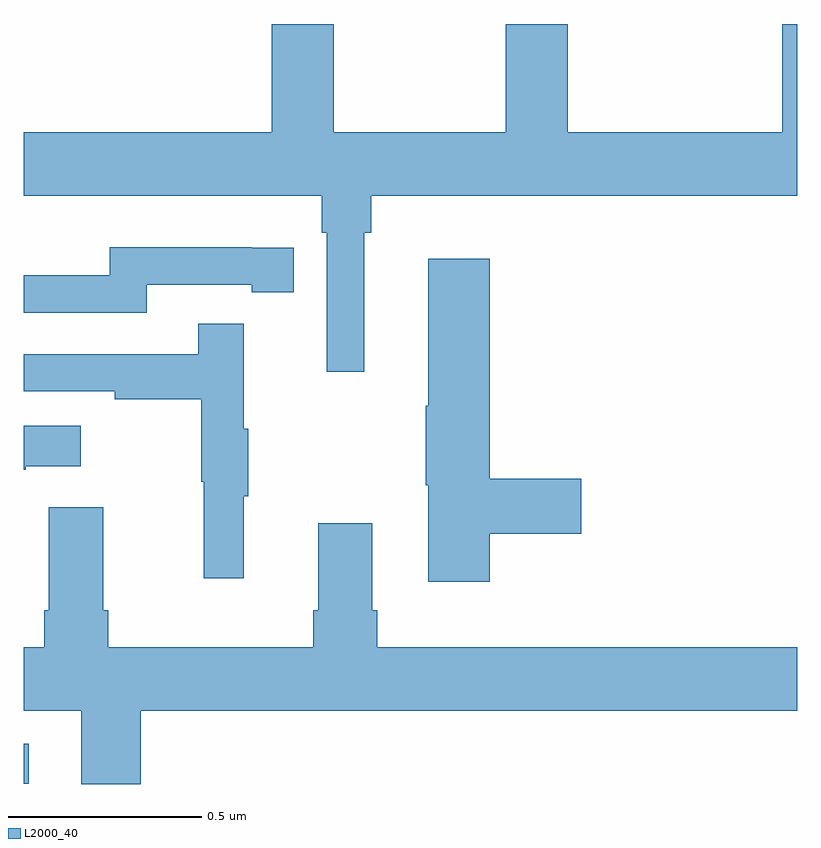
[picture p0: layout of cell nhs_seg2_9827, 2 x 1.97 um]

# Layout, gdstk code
import gdstk
lib = gdstk.Library(unit=1e-6, precision=1e-09)
def R(c, l, rs):  # rectangles x0, y0, x1, y1
    for r in rs: c.add(gdstk.rectangle(r[:2], r[2:], *l))
def P(c, l, *ps):  # polygons
    for p in ps: c.add(gdstk.Polygon(p, *l))
L2000_40 = (2000, 40)

nhs_seg2_9827 = lib.new_cell('nhs_seg2_9827')
R(nhs_seg2_9827, L2000_40, [(234,592.836,234.013,592.939)])
P(nhs_seg2_9827, L2000_40, [(234.88,594.26),(234.899,594.26),(234.899,594.356),(236,594.356),(236,594.8),(235.961,594.8),(235.961,594.52),(235.406,594.52),(235.406,594.8),(235.246,594.8),(235.246,594.52),(234.801,594.52),(234.801,594.8),(234.641,594.8),(234.641,594.52),(234,594.52),(234,594.356),(234.77,594.356),(234.77,594.26),(234.783,594.26),(234.783,593.901),(234.88,593.901)],
  [(234.318,594.126),(234.59,594.126),(234.59,594.106),(234.698,594.106),(234.698,594.222),(234.59,594.222),(234.59,594.223),(234.222,594.223),(234.222,594.15),(234,594.15),(234,594.054),(234.318,594.054)],
  [(235.205,593.482),(235.441,593.482),(235.441,593.624),(235.205,593.624),(235.205,594.193),(235.046,594.193),(235.046,593.813),(235.039,593.813),(235.039,593.607),(235.046,593.607),(235.046,593.358),(235.205,593.358)],
  [(234.569,593.579),(234.58,593.579),(234.58,593.753),(234.569,593.753),(234.569,594.025),(234.451,594.025),(234.451,593.946),(234,593.946),(234,593.85),(234.235,593.85),(234.235,593.83),(234.459,593.83),(234.459,593.616),(234.466,593.616),(234.466,593.367),(234.569,593.367)],
  [(234.005,593.657),(234.148,593.657),(234.148,593.761),(234,593.761),(234,593.647),(234.005,593.647)],
  [(234.302,593.024),(236,593.024),(236,593.188),(234.914,593.188),(234.914,593.284),(234.901,593.284),(234.901,593.509),(234.761,593.509),(234.761,593.284),(234.749,593.284),(234.749,593.188),(234.218,593.188),(234.218,593.284),(234.205,593.284),(234.205,593.551),(234.065,593.551),(234.065,593.284),(234.053,593.284),(234.053,593.188),(234,593.188),(234,593.024),(234.149,593.024),(234.149,592.835),(234.302,592.835)])

lib.write_gds('nhs_seg2_9827.gds')
